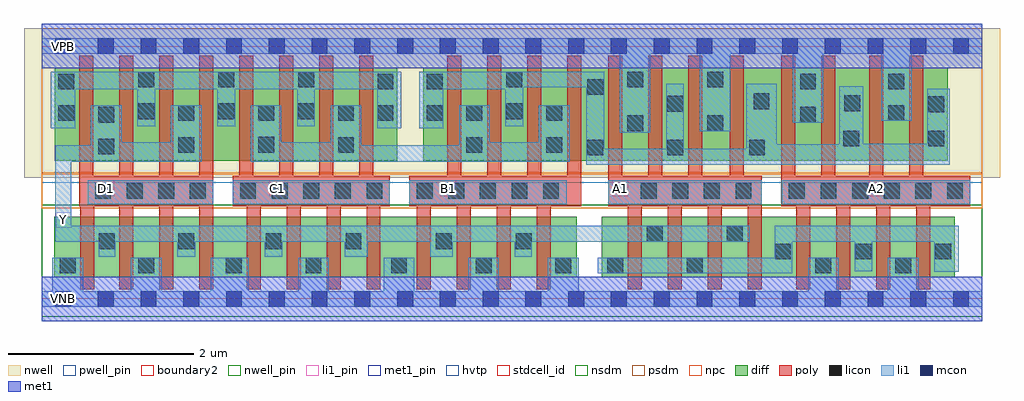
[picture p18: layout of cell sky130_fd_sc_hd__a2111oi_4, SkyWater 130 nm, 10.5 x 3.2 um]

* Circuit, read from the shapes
.subckt sky130_fd_sc_hd__a2111oi_4 A1 A2 B1 C1 D1 VGND VNB VPB VPWR Y
XM1 Y D1 VGND VNB sky130_fd_pr__nfet_01v8 w=0.65 l=0.15 m=4
XM2 Y C1 VGND VNB sky130_fd_pr__nfet_01v8 w=0.65 l=0.15 m=4
XM3 Y B1 VGND VNB sky130_fd_pr__nfet_01v8 w=0.65 l=0.15 m=4
XM4 Y A1 n1 VNB sky130_fd_pr__nfet_01v8 w=0.65 l=0.15 m=4
XM5 VGND A2 n1 VNB sky130_fd_pr__nfet_01v8 w=0.65 l=0.15 m=4
XM6 Y D1 n2 VPB sky130_fd_pr__pfet_01v8_hvt w=1 l=0.15 m=4
XM7 n3 C1 n2 VPB sky130_fd_pr__pfet_01v8_hvt w=1 l=0.15 m=4
XM8 n3 B1 n4 VPB sky130_fd_pr__pfet_01v8_hvt w=1 l=0.15 m=4
XM9 VPWR A1 n4 VPB sky130_fd_pr__pfet_01v8_hvt w=1 l=0.15 m=4
XM10 VPWR A2 n4 VPB sky130_fd_pr__pfet_01v8_hvt w=1 l=0.15 m=4
.ends

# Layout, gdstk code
import gdstk
lib = gdstk.Library(unit=1e-6, precision=1e-09)
def R(c, l, rs):  # rectangles x0, y0, x1, y1
    for r in rs: c.add(gdstk.rectangle(r[:2], r[2:], *l))
def A(c, l, x, y, w, h, nx, ny, dx, dy):  # array of equal rectangles
    R(c, l, [(x+i*dx, y+j*dy, x+i*dx+w, y+j*dy+h) for i in range(nx) for j in range(ny)])
def P(c, l, *ps):  # polygons
    for p in ps: c.add(gdstk.Polygon(p, *l))
nwell_pin = (64, 16)
nwell = (64, 20)
diff = (65, 20)
poly = (66, 20)
licon = (66, 44)
li1_pin = (67, 16)
li1 = (67, 20)
mcon = (67, 44)
met1_pin = (68, 16)
met1 = (68, 20)
hvtp = (78, 44)
stdcell_id = (81, 4)
nsdm = (93, 44)
psdm = (94, 20)
npc = (95, 20)
pwell_pin = (122, 16)
boundary2 = (236, 0)

sky130_fd_sc_hd__a2111oi = lib.new_cell('sky130_fd_sc_hd__a2111oi_4')
R(sky130_fd_sc_hd__a2111oi, nwell_pin, [(0.15,2.635,0.32,2.805)])
R(sky130_fd_sc_hd__a2111oi, nwell, [(-0.19,1.305,10.31,2.91)])
R(sky130_fd_sc_hd__a2111oi, diff, [(0.135,0.235,5.755,0.885), (6.025,0.235,9.825,0.885), (0.14,1.485,3.825,2.485), (4.105,1.485,9.75,2.485)])
P(sky130_fd_sc_hd__a2111oi, poly, [(1.845,2.615),(1.695,2.615),(1.695,1.325),(1.415,1.325),(1.415,2.615),(1.265,2.615),(1.265,1.325),(0.985,1.325),(0.985,2.615),(0.835,2.615),(0.835,1.325),(0.555,1.325),(0.555,2.615),(0.405,2.615),(0.405,0.995),(0.415,0.995),(0.415,0.105),(0.565,0.105),(0.565,0.995),(0.835,0.995),(0.835,0.105),(0.985,0.105),(0.985,0.995),(1.265,0.995),(1.265,0.105),(1.415,0.105),(1.415,0.995),(1.695,0.995),(1.695,0.105),(1.845,0.105)],
  [(3.745,1.325),(3.565,1.325),(3.565,2.615),(3.415,2.615),(3.415,1.325),(3.135,1.325),(3.135,2.615),(2.985,2.615),(2.985,1.325),(2.705,1.325),(2.705,2.615),(2.555,2.615),(2.555,1.325),(2.275,1.325),(2.275,2.615),(2.125,2.615),(2.125,1.325),(2.055,1.325),(2.055,0.995),(2.205,0.995),(2.205,0.105),(2.355,0.105),(2.355,0.995),(2.635,0.995),(2.635,0.105),(2.785,0.105),(2.785,0.995),(3.065,0.995),(3.065,0.105),(3.215,0.105),(3.215,0.995),(3.495,0.995),(3.495,0.105),(3.645,0.105),(3.645,0.995),(3.745,0.995)],
  [(5.805,2.615),(5.655,2.615),(5.655,1.325),(5.375,1.325),(5.375,2.615),(5.225,2.615),(5.225,1.325),(4.945,1.325),(4.945,2.615),(4.795,2.615),(4.795,1.325),(4.515,1.325),(4.515,2.615),(4.365,2.615),(4.365,1.325),(3.955,1.325),(3.955,0.995),(4.035,0.995),(4.035,0.105),(4.185,0.105),(4.185,0.995),(4.465,0.995),(4.465,0.105),(4.615,0.105),(4.615,0.995),(4.895,0.995),(4.895,0.105),(5.045,0.105),(5.045,0.995),(5.325,0.995),(5.325,0.105),(5.475,0.105),(5.475,0.995),(5.805,0.995)],
  [(7.745,1.325),(7.555,1.325),(7.555,2.615),(7.405,2.615),(7.405,1.325),(7.105,1.325),(7.105,2.615),(6.955,2.615),(6.955,1.325),(6.675,1.325),(6.675,2.615),(6.525,2.615),(6.525,1.325),(6.245,1.325),(6.245,2.615),(6.095,2.615),(6.095,0.995),(6.305,0.995),(6.305,0.105),(6.455,0.105),(6.455,0.995),(6.735,0.995),(6.735,0.105),(6.885,0.105),(6.885,0.995),(7.165,0.995),(7.165,0.105),(7.315,0.105),(7.315,0.995),(7.595,0.995),(7.595,0.105),(7.745,0.105)],
  [(9.99,1.325),(9.485,1.325),(9.485,2.615),(9.335,2.615),(9.335,1.325),(9.055,1.325),(9.055,2.615),(8.905,2.615),(8.905,1.325),(8.535,1.325),(8.535,2.615),(8.385,2.615),(8.385,1.325),(8.105,1.325),(8.105,2.615),(7.955,2.615),(7.955,0.995),(8.12,0.995),(8.12,0.105),(8.27,0.105),(8.27,0.995),(8.55,0.995),(8.55,0.105),(8.7,0.105),(8.7,0.995),(8.98,0.995),(8.98,0.105),(9.13,0.105),(9.13,0.995),(9.41,0.995),(9.41,0.105),(9.56,0.105),(9.56,0.995),(9.99,0.995)])
A(sky130_fd_sc_hd__a2111oi, licon, 0.575, 1.075, 0.17, 0.17, 4, 1, 0.34, 0)
A(sky130_fd_sc_hd__a2111oi, licon, 2.135, 1.075, 0.17, 0.17, 5, 1, 0.34, 0)
A(sky130_fd_sc_hd__a2111oi, licon, 4.035, 1.075, 0.17, 0.17, 5, 1, 0.34, 0)
A(sky130_fd_sc_hd__a2111oi, licon, 6.445, 1.075, 0.17, 0.17, 4, 1, 0.34, 0)
A(sky130_fd_sc_hd__a2111oi, licon, 8.04, 1.075, 0.17, 0.17, 6, 1, 0.34, 0)
A(sky130_fd_sc_hd__a2111oi, licon, 1.47, 1.915, 0.17, 0.17, 3, 1, 0.86, 0)
A(sky130_fd_sc_hd__a2111oi, licon, 1.04, 1.935, 0.17, 0.17, 3, 2, 0.86, 0.34)
R(sky130_fd_sc_hd__a2111oi, licon, [(0.195,0.275,0.365,0.445), (1.04,0.275,1.21,0.445), (1.98,0.275,2.15,0.445), (2.84,0.275,3.01,0.445), (3.76,0.275,3.93,0.445), (4.67,0.275,4.84,0.445), (5.525,0.275,5.695,0.445), (6.085,0.275,6.255,0.445), (6.94,0.275,7.11,0.445), (8.325,0.275,8.495,0.445), (9.185,0.275,9.355,0.445), (7.89,0.425,8.06,0.595), (8.755,0.425,8.925,0.595), (9.615,0.425,9.785,0.595), (0.615,0.535,0.785,0.705), (1.47,0.535,1.64,0.705), (2.41,0.535,2.58,0.705), (3.27,0.535,3.44,0.705), (4.24,0.535,4.41,0.705), (5.1,0.535,5.27,0.705), (6.51,0.615,6.68,0.785), (7.37,0.615,7.54,0.785), (5.87,1.545,6.04,1.715), (6.73,1.545,6.9,1.715), (7.61,1.545,7.78,1.715), (0.61,1.555,0.78,1.725), (1.47,1.57,1.64,1.74), (3.19,1.57,3.36,1.74), (4.57,1.57,4.74,1.74), (5.43,1.57,5.6,1.74), (2.33,1.575,2.5,1.745), (8.625,1.64,8.795,1.81), (9.54,1.64,9.71,1.81), (6.3,1.805,6.47,1.975), (7.16,1.805,7.33,1.975), (0.61,1.895,0.78,2.065), (8.16,1.895,8.33,2.065), (0.18,1.915,0.35,2.085), (3.615,1.915,3.785,2.085), (4.145,1.915,4.315,2.085), (4.57,1.915,4.74,2.085), (5.43,1.915,5.6,2.085), (9.11,1.915,9.28,2.085), (5,1.935,5.17,2.105), (9.54,2.01,9.71,2.18), (6.73,2.015,6.9,2.185), (8.635,2.02,8.805,2.19), (7.66,2.04,7.83,2.21), (5.87,2.195,6.04,2.365), (0.18,2.255,0.35,2.425), (3.615,2.255,3.785,2.425), (4.145,2.255,4.315,2.425), (8.16,2.255,8.33,2.425), (9.11,2.255,9.28,2.425), (5,2.275,5.17,2.445), (6.3,2.275,6.47,2.445), (7.16,2.275,7.33,2.445)])
A(sky130_fd_sc_hd__a2111oi, li1_pin, 0.61, 1.105, 0.17, 0.17, 3, 1, 1.84, 0)
R(sky130_fd_sc_hd__a2111oi, li1_pin, [(0.15,0.765,0.32,0.935), (6.14,1.105,6.31,1.275), (8.9,1.105,9.07,1.275)])
R(sky130_fd_sc_hd__a2111oi, li1, [(0.495,1.02,1.845,1.275), (2.055,1.02,3.745,1.275), (3.955,1.02,5.65,1.275), (6.095,1.02,7.745,1.275), (7.96,1.02,9.99,1.275)])
P(sky130_fd_sc_hd__a2111oi, li1, [(9.865,0.785),(7.885,0.785),(7.885,0.445),(5.98,0.445),(5.98,0.275),(8.075,0.275),(8.075,0.615),(8.745,0.615),(8.745,0.3),(8.935,0.3),(8.935,0.615),(9.605,0.615),(9.605,0.29),(9.865,0.29)],
  [(9.77,2.26),(9.53,2.26),(9.53,1.67),(8.84,1.67),(8.84,2.29),(8.58,2.29),(8.58,1.665),(7.91,1.665),(7.91,2.315),(7.58,2.315),(7.58,1.615),(6.91,1.615),(6.91,2.315),(6.72,2.315),(6.72,1.615),(6.05,1.615),(6.05,2.445),(4.06,2.445),(4.06,1.835),(4.32,1.835),(4.32,2.255),(4.99,2.255),(4.99,1.855),(5.18,1.855),(5.18,2.275),(5.86,2.275),(5.86,1.445),(9.77,1.445)],
  [(10.12,2.805),(0,2.805),(0,2.635),(6.22,2.635),(6.22,1.785),(6.55,1.785),(6.55,2.635),(7.08,2.635),(7.08,1.805),(7.41,1.805),(7.41,2.635),(8.08,2.635),(8.08,1.895),(8.41,1.895),(8.41,2.635),(9.03,2.635),(9.03,1.915),(9.36,1.915),(9.36,2.635),(10.12,2.635)],
  [(5.68,2.085),(5.35,2.085),(5.35,1.685),(4.82,1.685),(4.82,2.085),(4.49,2.085),(4.49,1.655),(3.44,1.655),(3.44,2.085),(3.11,2.085),(3.11,1.685),(2.58,1.685),(2.58,2.085),(2.25,2.085),(2.25,1.475),(5.68,1.475)],
  [(7.62,0.785),(0.32,0.785),(0.32,1.475),(1.72,1.475),(1.72,2.085),(1.39,2.085),(1.39,1.685),(0.86,1.685),(0.86,2.085),(0.53,2.085),(0.53,1.655),(0.145,1.655),(0.145,0.615),(0.615,0.615),(0.615,0.455),(0.79,0.455),(0.79,0.615),(1.46,0.615),(1.46,0.455),(1.65,0.455),(1.65,0.615),(2.4,0.615),(2.4,0.455),(2.59,0.455),(2.59,0.615),(3.26,0.615),(3.26,0.455),(3.51,0.455),(3.51,0.615),(4.18,0.615),(4.18,0.455),(4.42,0.455),(4.42,0.615),(5.09,0.615),(5.09,0.455),(5.275,0.455),(5.275,0.615),(7.62,0.615)],
  [(10.12,0.085),(9.435,0.085),(9.435,0.445),(9.105,0.445),(9.105,0.085),(8.575,0.085),(8.575,0.445),(8.245,0.445),(8.245,0.085),(5.78,0.085),(5.78,0.445),(5.445,0.445),(5.445,0.085),(4.92,0.085),(4.92,0.445),(4.59,0.445),(4.59,0.085),(4.01,0.085),(4.01,0.445),(3.68,0.445),(3.68,0.085),(3.09,0.085),(3.09,0.445),(2.76,0.445),(2.76,0.085),(2.23,0.085),(2.23,0.445),(1.82,0.445),(1.82,0.085),(1.29,0.085),(1.29,0.445),(0.96,0.445),(0.96,0.085),(0.445,0.085),(0.445,0.445),(0.115,0.445),(0.115,0.085),(0,0.085),(0,-0.085),(10.12,-0.085)],
  [(3.87,2.445),(0.1,2.445),(0.1,1.835),(0.36,1.835),(0.36,2.255),(1.03,2.255),(1.03,1.855),(1.22,1.855),(1.22,2.255),(1.89,2.255),(1.89,1.855),(2.08,1.855),(2.08,2.255),(2.75,2.255),(2.75,1.855),(2.94,1.855),(2.94,2.255),(3.61,2.255),(3.61,1.835),(3.87,1.835)])
A(sky130_fd_sc_hd__a2111oi, mcon, 0.145, -0.085, 0.17, 0.17, 22, 2, 0.46, 2.72)
R(sky130_fd_sc_hd__a2111oi, met1_pin, [(0.15,-0.085,0.32,0.085), (0.15,2.635,0.32,2.805)])
R(sky130_fd_sc_hd__a2111oi, hvtp, [(0,1.25,10.12,2.72)])
R(sky130_fd_sc_hd__a2111oi, stdcell_id, [(0,0,10.12,2.72)])
R(sky130_fd_sc_hd__a2111oi, nsdm, [(0,-0.19,10.12,1.015)])
R(sky130_fd_sc_hd__a2111oi, psdm, [(0,1.355,10.12,2.91)])
R(sky130_fd_sc_hd__a2111oi, npc, [(0,0.975,10.12,1.345)])
R(sky130_fd_sc_hd__a2111oi, pwell_pin, [(0.15,-0.085,0.32,0.085)])
R(sky130_fd_sc_hd__a2111oi, boundary2, [(0,0,10.12,2.72)])
sky130_fd_sc_hd__a2111oi.add(gdstk.FlexPath([(0,2.72),(10.12,2.72)], 0.48, ends="flush", simple_path=True, layer=68, datatype=20))  # met1
sky130_fd_sc_hd__a2111oi.add(gdstk.FlexPath([(0,0),(10.12,0)], 0.48, ends="flush", simple_path=True, layer=68, datatype=20))  # met1
sky130_fd_sc_hd__a2111oi.add(gdstk.Label('D1', (0.695,1.19), layer=67, texttype=5))
sky130_fd_sc_hd__a2111oi.add(gdstk.Label('C1', (2.535,1.19), layer=67, texttype=5))
sky130_fd_sc_hd__a2111oi.add(gdstk.Label('B1', (4.375,1.19), layer=67, texttype=5))
sky130_fd_sc_hd__a2111oi.add(gdstk.Label('A2', (8.985,1.19), layer=67, texttype=5))
sky130_fd_sc_hd__a2111oi.add(gdstk.Label('A1', (6.225,1.19), layer=67, texttype=5))
sky130_fd_sc_hd__a2111oi.add(gdstk.Label('Y', (0.235,0.85), layer=67, texttype=5))
sky130_fd_sc_hd__a2111oi.add(gdstk.Label('VNB', (0.235,0), layer=64, texttype=59))
sky130_fd_sc_hd__a2111oi.add(gdstk.Label('VPB', (0.235,2.72), layer=64, texttype=5))
sky130_fd_sc_hd__a2111oi.add(gdstk.Label('VGND', (0.23,0), layer=68, texttype=5))
sky130_fd_sc_hd__a2111oi.add(gdstk.Label('VPWR', (0.235,2.72), layer=68, texttype=5))
sky130_fd_sc_hd__a2111oi.add(gdstk.Label('a2111oi_4', (0,0), layer=83, texttype=44))

lib.write_gds('sky130_fd_sc_hd__a2111oi_4.gds')
